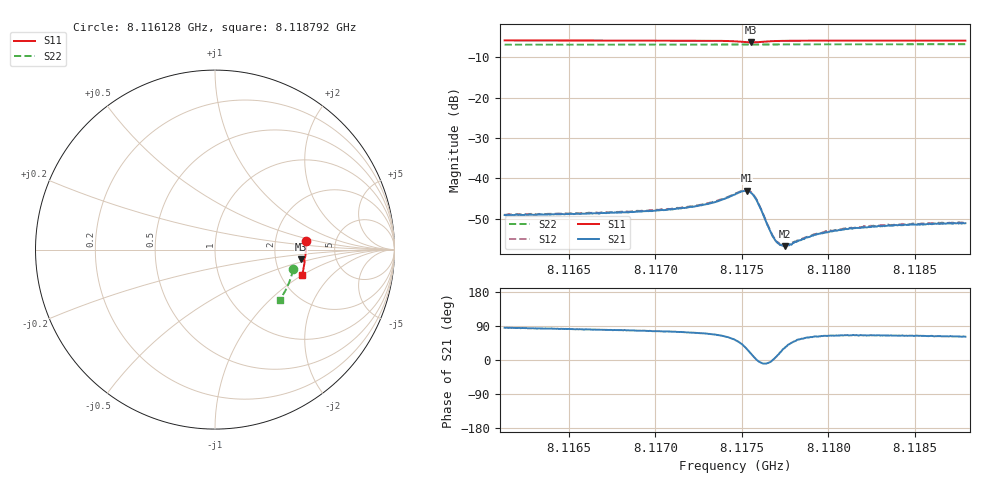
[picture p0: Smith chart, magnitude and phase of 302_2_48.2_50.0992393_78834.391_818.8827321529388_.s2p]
#  HZ  S  RI  R  50.00
! Rohde & Schwarz Vector Network Analyzer
! Rohde-Schwarz,ZNB20-2Port,1311601062101988,3.16
! Created: UTC 3/20/2024, 11:49:37 AM
! freq[Hz]  re:S11  im:S11  re:S21  im:S21  re:S12  im:S12  re:S22  im:S22
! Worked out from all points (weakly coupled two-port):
!   401 points, 8.116128 GHz to 8.118792 GHz, reference 50 ohm
!   highest |S21| = -43.03 dB at 8.117526 GHz (marker M1); lowest = -56.8 dB at 8.117746 GHz (marker M2)
!   lowest |S11| = -6.4 dB at 8.117553 GHz (marker M3), VSWR 2.85, Z = 139 - j19.3 ohm
!   |S11| at or under -10 dB: nowhere
!   |S22| runs from -7.0 to -6.8 dB; largest |S21 - S12| = 0.00019
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8.1161277e9  0.5048 0.0486  0.000301 0.00351  0.000348 0.00355  0.4352 -0.1101
8.1165739e9  0.5064 0.015  0.000569 0.00361  0.000648 0.00368  0.4275 -0.1402
8.1170202e9  0.5053 -0.0197  0.000983 0.00391  0.000998 0.00395  0.4181 -0.1699
8.1171801e9  0.5038 -0.0329  0.00129 0.00414  0.00132 0.00421  0.414 -0.1803
8.1172666e9  0.5024 -0.0403  0.00153 0.00439  0.00161 0.00446  0.4119 -0.1859
8.1173599e9  0.4995 -0.0495  0.00213 0.00476  0.00224 0.00485  0.4093 -0.192
8.1174598e9  0.4914 -0.0594  0.0038 0.00506  0.00394 0.00512  0.4061 -0.1984
8.1174998e9  0.4848 -0.061  0.00515 0.00461  0.00534 0.00462  0.4047 -0.2009
8.1175264e9  0.4797 -0.0588  0.00611 0.00353  0.0062 0.00355  0.4037 -0.2023
8.1175531e9  0.477 -0.0534  0.00635 0.00187  0.0065 0.00183  0.4029 -0.2036
8.117573e9  0.4782 -0.0487  0.00587 0.000614  0.00599 0.000562  0.4026 -0.2046
8.117593e9  0.4817 -0.0457  0.00495 -0.000224  0.00502 -0.000246  0.4022 -0.2058
8.1176596e9  0.4932 -0.0486  0.00232 -0.000244  0.00235 -0.000281  0.4008 -0.2102
8.1176863e9  0.4958 -0.0518  0.0018 9.77e-05  0.00185 9.01e-05  0.4 -0.2118
8.1177129e9  0.4971 -0.055  0.00151 0.000408  0.00153 0.000449  0.3992 -0.2135
8.1177462e9  0.4982 -0.059  0.00124 0.000757  0.00128 0.000808  0.3982 -0.2157
8.1177662e9  0.4985 -0.0611  0.00114 0.000963  0.0012 0.000943  0.3976 -0.217
8.1179061e9  0.4986 -0.0746  0.00097 0.00171  0.000985 0.00173  0.3933 -0.2258
8.1179793e9  0.4979 -0.081  0.000942 0.00192  0.00103 0.00194  0.3909 -0.2305
8.1180926e9  0.4965 -0.0902  0.000968 0.00213  0.00104 0.00217  0.3871 -0.2375
8.1183523e9  0.4926 -0.1102  0.00113 0.00235  0.00116 0.00238  0.378 -0.2533
8.1187919e9  0.484 -0.1423  0.00133 0.00245  0.00137 0.00255  0.3609 -0.279
